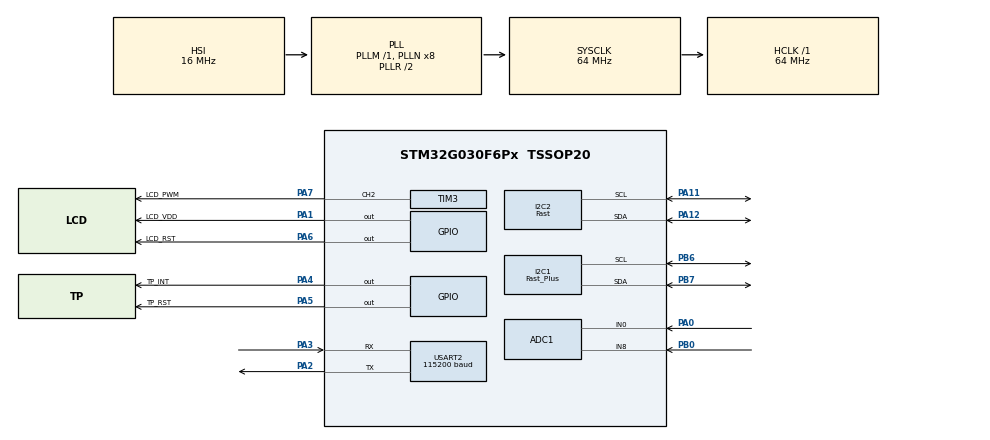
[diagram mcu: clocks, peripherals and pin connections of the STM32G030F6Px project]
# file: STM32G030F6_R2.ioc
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Mcu.Family=STM32G0
PA11\ [PA9].Mode=I2C
RCC.CortexFreq_Value=64000000
I2C1.I2C_Speed_Mode=I2C_Fast_Plus
TIM14.AutoReloadPreload=TIM_AUTORELOAD_PRELOAD_DISABLE
ADC1.ContinuousConvMode=ENABLE
Dma.ADC1.0.Polarity=HAL_DMAMUX_REQ_GEN_RISING
PA12\ [PA10].Mode=I2C
VP_IWDG_VS_IWDG.Mode=IWDG_Activate
I2C2.Timing=0x00602173
PA14-BOOT0.Mode=Serial_Wire
I2C2.NoStretchMode=I2C_NOSTRETCH_DISABLE
PA6.GPIO_Label=LCD_RST
I2C2.DualAddressMode=I2C_DUALADDRESS_DISABLE
RCC.SYSCLKSource=RCC_SYSCLKSOURCE_PLLCLK
ProjectManager.StackSize=0x400
NVIC.I2C1_IRQn=true\:0\:0\:false\:false\:true\:true\:true
PA11\ [PA9].GPIO_Mode=GPIO_MODE_AF_OD
RCC.HCLKFreq_Value=64000000
PA12\ [PA10].Signal=I2C2_SDA
I2C2.I2C_Speed_Mode=I2C_Fast
TIM3.Period=PERIOD_VALUE
PB6.Signal=I2C1_SCL
Dma.ADC1.0.Direction=DMA_PERIPH_TO_MEMORY
PB6.Mode=I2C
I2C2.CustomTiming=Disabled
Dma.ADC1.0.MemDataAlignment=DMA_MDATAALIGN_HALFWORD
RCC.AHBFreq_Value=64000000
PA14-BOOT0.Signal=SYS_SWCLK
ADC1.Channel-0\#ChannelRegularConversion=ADC_CHANNEL_0
RCC.HSE_VALUE=8000000
USART2.VirtualMode-Asynchronous=VM_ASYNC
TIM3.OCFastMode_PWM-PWM\ Generation2\ CH2=TIM_OCFAST_ENABLE
TIM14.Period=1599
PA4.GPIO_Speed=GPIO_SPEED_FREQ_VERY_HIGH
PA6.GPIO_PuPd=GPIO_NOPULL
I2C1.NoStretchMode=I2C_NOSTRETCH_DISABLE
PA12\ [PA10].GPIO_PuPdOD=GPIO_PULLUP
TIM3.Prescaler=PRESCALER_VALUE
PA5.GPIO_PuPd=GPIO_NOPULL
Dma.ADC1.0.PeriphInc=DMA_PINC_DISABLE
PA0.Mode=IN0
PB7.Signal=I2C1_SDA
PA11\ [PA9].GPIO_PuPdOD=GPIO_PULLUP
ADC1.SamplingTime-0\#ChannelRegularConversion=ADC_SAMPLINGTIME_COMMON_1
PA0.Signal=ADC1_IN0
ADC1.SelectedChannel=ADC_CHANNEL_0|ADC_CHANNEL_8
Mcu.Package=TSSOP20
PA6.Signal=GPIO_Output
I2C2.I2C_Fall_Time=0
PA12\ [PA10].PinState=GPIO_PIN_RESET
I2C2.I2C_Rise_Time=0
TIM3.Pulse-PWM\ Generation2\ CH2=PULSE_DEF_VALUE
I2C2.GeneralCallMode=I2C_GENERALCALL_DISABLE
VP_TIM14_VS_ClockSourceINT.Mode=Enable_Timer
PA6.GPIO_Speed=GPIO_SPEED_FREQ_HIGH
Dma.Request0=ADC1
PA4.GPIO_Label=TP_INT
Dma.ADC1.0.EventEnable=DISABLE
PA3.Signal=USART2_RX
PB7.GPIO_Speed=GPIO_SPEED_FREQ_HIGH
NVIC.TIM14_IRQn=true\:0\:0\:false\:false\:true\:true\:true
Dma.ADC1.0.Instance=DMA1_Channel1
ADC1.Rank-0\#ChannelRegularConversion=1
PA11\ [PA9].GPIO_Speed=GPIO_SPEED_FREQ_HIGH
PA12\ [PA10].GPIO_Speed=GPIO_SPEED_FREQ_HIGH
I2C2.I2C_Coeff_DF=0
Dma.ADC1.0.SyncRequestNumber=1
PA12\ [PA10].GPIO_Mode=GPIO_MODE_AF_OD
RCC.EXTERNAL_CLOCK_VALUE=12288000
PA6.PinState=GPIO_PIN_RESET
USART2.BaudRate=115200
I2C2.OwnAddress=0
PA13.Signal=SYS_SWDIO
PA3.Mode=Asynchronous
Dma.ADC1.0.PeriphDataAlignment=DMA_PDATAALIGN_HALFWORD
ProjectManager.TargetToolchain=STM32CubeIDE
Dma.ADC1.0.Mode=DMA_CIRCULAR
Dma.ADC1.0.SignalID=NONE
Dma.ADC1.0.SyncSignalID=NONE
Dma.ADC1.0.Priority=DMA_PRIORITY_MEDIUM
ADC1.Channel-1\#ChannelRegularConversion=ADC_CHANNEL_8
I2C1.Timing=0x00300B29
RCC.LSE_VALUE=32768
PA1.Signal=GPIO_Output
PA5.Signal=GPIO_Output
SH.S_TIM3_CH2.0=TIM3_CH2,PWM Generation2 CH2
PB0.Mode=IN8
board=custom
RCC.VCOOutputFreq_Value=128000000
PA7.GPIO_Speed=GPIO_SPEED_FREQ_HIGH
Dma.ADC1.0.SyncPolarity=HAL_DMAMUX_SYNC_NO_EVENT
PA1.GPIO_Speed=GPIO_SPEED_FREQ_HIGH
RCC.ADCFreq_Value=64000000
PA1.GPIO_Label=LCD_VDD
PA11\ [PA9].PinState=GPIO_PIN_RESET
ADC1.DMAContinuousRequests=ENABLE
ADC1.NbrOfConversion=2
PA13.Mode=Serial_Wire
I2C2.Speed=400
PA11\ [PA9].Signal=I2C2_SCL
Mcu.Name=STM32G030F6Px
TIM14.Prescaler=39999
PA2.Signal=USART2_TX
I2C1.OwnAddress=I2C_SLAVE_ADDR
PA4.Signal=GPIO_Output
ADC1.SamplingTime-1\#ChannelRegularConversion=ADC_SAMPLINGTIME_COMMON_1
RCC.SYSCLKFreq_VALUE=64000000
PA7.GPIO_Label=LCD_PWM
ADC1.master=1
PA5.GPIO_Label=TP_RST
ADC1.Rank-1\#ChannelRegularConversion=2
Dma.ADC1.0.RequestNumber=1
PB7.Mode=I2C
Dma.ADC1.0.SyncEnable=DISABLE
Dma.ADC1.0.MemInc=DMA_MINC_ENABLE
ProjectManager.HeapSize=0x200
RCC.HSI_VALUE=16000000
PA5.GPIO_Speed=GPIO_SPEED_FREQ_HIGH
ADC1.NbrOfConversionFlag=1
TIM3.Channel-PWM\ Generation2\ CH2=TIM_CHANNEL_2
PA2.Mode=Asynchronous
NVIC.DMA1_Channel1_IRQn=true\:3\:0\:true\:false\:true\:false\:true
PB6.GPIO_Speed=GPIO_SPEED_FREQ_HIGH
PB0.Signal=ADC1_IN8
PA7.Signal=S_TIM3_CH2

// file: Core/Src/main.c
/* USER CODE BEGIN Header */
/**
  ******************************************************************************
  * @file           : main.c
  * @brief          : Main program body
  ******************************************************************************
  * @attention
  *
  * <h2><center>&copy; Copyright (c) 2021 STMicroelectronics.
  * All rights reserved.</center></h2>
  *
  * This software component is licensed by ST under BSD 3-Clause license,
  * the "License"; You may not use this file except in compliance with the
  * License. You may obtain a copy of the License at:
  *                        opensource.org/licenses/BSD-3-Clause
  *
  ******************************************************************************
  */
/* USER CODE END Header */
#include "main.h"

/* USER CODE BEGIN PD */
#define PRESCALER_VALUE		(uint32_t)(((SystemCoreClock) / 4000000) - 1)
#define PERIOD_VALUE		(uint32_t)(255 - 1)  /* Period Value  */
#define PULSE_DEF_VALUE		(uint32_t)(0)//(250)

#define I2C_SLAVE_ADDR		(0x45<<1)
/* USER CODE END PD */

ADC_HandleTypeDef hadc1;
DMA_HandleTypeDef hdma_adc1;

I2C_HandleTypeDef hi2c1;
I2C_HandleTypeDef hi2c2;

IWDG_HandleTypeDef hiwdg;

TIM_HandleTypeDef htim3;
TIM_HandleTypeDef htim14;

UART_HandleTypeDef huart2;

/* USER CODE BEGIN PV */
uint16_t AdcVal[ADC_CH_MAX] = { 0 };
uint32_t i2c_int_cnt = 0;

static uint32_t reg_rcc_csr = 0x00;
/* USER CODE END PV */

void SystemClock_Config(void);
static void MX_GPIO_Init(void);
static void MX_DMA_Init(void);
static void MX_USART2_UART_Init(void);
static void MX_I2C1_Init(void);
static void MX_I2C2_Init(void);
static void MX_TIM3_Init(void);
static void MX_ADC1_Init(void);
static void MX_TIM14_Init(void);
static void MX_IWDG_Init(void);
/* USER CODE BEGIN PFP */
static void Update_Firmware_Init(void);
/* USER CODE END PFP */

/* USER CODE BEGIN 0 */
/*
 * !!! ESD Test Problem Solving Instruction !!!
 * When we use the reterminal(stm32 firmware less than or equal to V1.8) to do the ESD test.
 * The touch panel may be not responding to touch action.In order to fix this problem.We add
 *  the Independent watch dog timer.And we add more code to deal with the different ESD issue.
 * For more Details.Please refer to the follow link:
 * https://github.com/Seeed-Studio/seeed-linux-dtoverlays/commit/34e902e37f841972757c51b80aa97059e64a4463
 * */
/* USER CODE END 0 */

int main(void)
{

  /* MCU Configuration--------------------------------------------------------*/

  /* Reset of all peripherals, Initializes the Flash interface and the Systick. */
  HAL_Init();

  /* Configure the system clock */
  SystemClock_Config();

  /* USER CODE BEGIN SysInit */
  /*
   * In order to determine whether the CM4 is
   * still running when the MCU resets.
   * We use the I2C slave interrupt time for this.
   * So the I2C slave init code move to the beginning
   * of the system init.
   * */
  MX_I2C1_Init();
  I2C_Slave_Init(&hi2c1);
  /*
   * Add delay here to receive the possible packets
   * from CM4.
   * CM4's poll interval is defined here:
   * https://github.com/Seeed-Studio/seeed-linux-dtoverlays/blob/master/modules/mipi_dsi/touch_panel.c
   * */
  HAL_Delay(50);
  /* USER CODE END SysInit */

  /* Initialize all configured peripherals */
  MX_GPIO_Init();
  MX_DMA_Init();
  MX_USART2_UART_Init();
  //MX_I2C1_Init();
  MX_I2C2_Init();
  MX_TIM3_Init();
  MX_ADC1_Init();
  MX_TIM14_Init();
  MX_IWDG_Init();
  /* USER CODE BEGIN 2 */
  /*
   * After the MCU is reset by the IWDG timeout reset.
   * This code about RCC->CSR can find out the reset reason
   * and keep the working status of LCD backlight and clear
   * reset flag(RCC_CSR_RMVF) of RCC->CSR.
   */
  if(reg_rcc_csr & RCC_CSR_IWDGRSTF_Msk) {
	  PWM_config(255);
  	  SET_BIT(RCC->CSR, RCC_CSR_RMVF);
  	  DBG_PRINT("IWDG RESET!!!\n");
  }
  /*
   * This code is aimed on fixing the ESD issue
   * The MCU maybe reset when ESD happens while the CM4
   * not reset at the same time.
   * */
  if((reg_rcc_csr & RCC_CSR_PINRSTF_Msk) && i2c_int_cnt >= 1) {
	  PWM_config(255);
  	  SET_BIT(RCC->CSR, RCC_CSR_RMVF);
  	  DBG_PRINT("Only MCU reset without CM4 reset!\n");
  }

  __HAL_TIM_CLEAR_FLAG(&htim14, TIM_SR_UIF);
  DBG_PRINT("ReTerminal stm32!\n");
  //Update_Firmware_Init();
  TP_Init(&hi2c2);
  /* USER CODE END 2 */

  /* Infinite loop */
  /* USER CODE BEGIN WHILE */
  while (1)
  {
  	I2C_Slave_Process();
  	HAL_IWDG_Refresh(&hiwdg);
    /* USER CODE END WHILE */

  }
}

void SystemClock_Config(void)
{
  RCC_OscInitTypeDef RCC_OscInitStruct = {0};
  RCC_ClkInitTypeDef RCC_ClkInitStruct = {0};
  RCC_PeriphCLKInitTypeDef PeriphClkInit = {0};

  /** Configure the main internal regulator output voltage
  */
  HAL_PWREx_ControlVoltageScaling(PWR_REGULATOR_VOLTAGE_SCALE1);
  /** Initializes the RCC Oscillators according to the specified parameters
  * in the RCC_OscInitTypeDef structure.
  */
  RCC_OscInitStruct.OscillatorType = RCC_OSCILLATORTYPE_HSI|RCC_OSCILLATORTYPE_LSI;
  RCC_OscInitStruct.HSIState = RCC_HSI_ON;
  RCC_OscInitStruct.HSIDiv = RCC_HSI_DIV1;
  RCC_OscInitStruct.HSICalibrationValue = RCC_HSICALIBRATION_DEFAULT;
  RCC_OscInitStruct.LSIState = RCC_LSI_ON;
  RCC_OscInitStruct.PLL.PLLState = RCC_PLL_ON;
  RCC_OscInitStruct.PLL.PLLSource = RCC_PLLSOURCE_HSI;
  RCC_OscInitStruct.PLL.PLLM = RCC_PLLM_DIV1;
  RCC_OscInitStruct.PLL.PLLN = 8;
  RCC_OscInitStruct.PLL.PLLP = RCC_PLLP_DIV2;
  RCC_OscInitStruct.PLL.PLLR = RCC_PLLR_DIV2;
  if (HAL_RCC_OscConfig(&RCC_OscInitStruct) != HAL_OK)
  {
    Error_Handler();
  }
  /** Initializes the CPU, AHB and APB buses clocks
  */
  RCC_ClkInitStruct.ClockType = RCC_CLOCKTYPE_HCLK|RCC_CLOCKTYPE_SYSCLK
                              |RCC_CLOCKTYPE_PCLK1;
  RCC_ClkInitStruct.SYSCLKSource = RCC_SYSCLKSOURCE_PLLCLK;
  RCC_ClkInitStruct.AHBCLKDivider = RCC_SYSCLK_DIV1;
  RCC_ClkInitStruct.APB1CLKDivider = RCC_HCLK_DIV1;

  if (HAL_RCC_ClockConfig(&RCC_ClkInitStruct, FLASH_LATENCY_2) != HAL_OK)
  {
    Error_Handler();
  }
  /** Initializes the peripherals clocks
  */
  PeriphClkInit.PeriphClockSelection = RCC_PERIPHCLK_I2C1|RCC_PERIPHCLK_ADC;
  PeriphClkInit.I2c1ClockSelection = RCC_I2C1CLKSOURCE_PCLK1;
  PeriphClkInit.AdcClockSelection = RCC_ADCCLKSOURCE_SYSCLK;
  if (HAL_RCCEx_PeriphCLKConfig(&PeriphClkInit) != HAL_OK)
  {
    Error_Handler();
  }
}

static void MX_ADC1_Init(void)
{

  ADC_ChannelConfTypeDef sConfig = {0};

  /** Configure the global features of the ADC (Clock, Resolution, Data Alignment and number of conversion)
  */
  hadc1.Instance = ADC1;
  hadc1.Init.ClockPrescaler = ADC_CLOCK_SYNC_PCLK_DIV4;
  hadc1.Init.Resolution = ADC_RESOLUTION_12B;
  hadc1.Init.DataAlign = ADC_DATAALIGN_RIGHT;
  hadc1.Init.ScanConvMode = ADC_SCAN_ENABLE;
  hadc1.Init.EOCSelection = ADC_EOC_SINGLE_CONV;
  hadc1.Init.LowPowerAutoWait = DISABLE;
  hadc1.Init.LowPowerAutoPowerOff = DISABLE;
  hadc1.Init.ContinuousConvMode = ENABLE;
  hadc1.Init.NbrOfConversion = 2;
  hadc1.Init.DiscontinuousConvMode = DISABLE;
  hadc1.Init.ExternalTrigConv = ADC_SOFTWARE_START;
  hadc1.Init.ExternalTrigConvEdge = ADC_EXTERNALTRIGCONVEDGE_NONE;
  hadc1.Init.DMAContinuousRequests = ENABLE;
  hadc1.Init.Overrun = ADC_OVR_DATA_PRESERVED;
  hadc1.Init.SamplingTimeCommon1 = ADC_SAMPLETIME_1CYCLE_5;
  hadc1.Init.SamplingTimeCommon2 = ADC_SAMPLETIME_1CYCLE_5;
  hadc1.Init.OversamplingMode = DISABLE;
  hadc1.Init.TriggerFrequencyMode = ADC_TRIGGER_FREQ_HIGH;
  if (HAL_ADC_Init(&hadc1) != HAL_OK)
  {
    Error_Handler();
  }
  /** Configure Regular Channel
  */
  sConfig.Channel = ADC_CHANNEL_0;
  sConfig.Rank = ADC_REGULAR_RANK_1;
  sConfig.SamplingTime = ADC_SAMPLINGTIME_COMMON_1;
  if (HAL_ADC_ConfigChannel(&hadc1, &sConfig) != HAL_OK)
  {
    Error_Handler();
  }
  /** Configure Regular Channel
  */
  sConfig.Channel = ADC_CHANNEL_8;
  sConfig.Rank = ADC_REGULAR_RANK_2;
  if (HAL_ADC_ConfigChannel(&hadc1, &sConfig) != HAL_OK)
  {
    Error_Handler();
  }
  /* USER CODE BEGIN ADC1_Init 2 */
  HAL_NVIC_DisableIRQ(DMA1_Channel1_IRQn);
  HAL_ADC_Start_DMA(&hadc1, (uint32_t*)AdcVal, ADC_CH_MAX);
  /* USER CODE END ADC1_Init 2 */

}

static void MX_I2C1_Init(void)
{

  hi2c1.Instance = I2C1;
  hi2c1.Init.Timing = 0x00300B29;
  hi2c1.Init.OwnAddress1 = I2C_SLAVE_ADDR;
  hi2c1.Init.AddressingMode = I2C_ADDRESSINGMODE_7BIT;
  hi2c1.Init.DualAddressMode = I2C_DUALADDRESS_DISABLE;
  hi2c1.Init.OwnAddress2 = 0;
  hi2c1.Init.OwnAddress2Masks = I2C_OA2_NOMASK;
  hi2c1.Init.GeneralCallMode = I2C_GENERALCALL_DISABLE;
  hi2c1.Init.NoStretchMode = I2C_NOSTRETCH_DISABLE;
  if (HAL_I2C_Init(&hi2c1) != HAL_OK)
  {
    Error_Handler();
  }
  /** Configure Analogue filter
  */
  if (HAL_I2CEx_ConfigAnalogFilter(&hi2c1, I2C_ANALOGFILTER_ENABLE) != HAL_OK)
  {
    Error_Handler();
  }
  /** Configure Digital filter
  */
  if (HAL_I2CEx_ConfigDigitalFilter(&hi2c1, 0) != HAL_OK)
  {
    Error_Handler();
  }
  /** I2C Fast mode Plus enable
  */
  HAL_I2CEx_EnableFastModePlus(I2C_FASTMODEPLUS_I2C1);

}

static void MX_I2C2_Init(void)
{

  hi2c2.Instance = I2C2;
  hi2c2.Init.Timing = 0x00602173;
  hi2c2.Init.OwnAddress1 = 0;
  hi2c2.Init.AddressingMode = I2C_ADDRESSINGMODE_7BIT;
  hi2c2.Init.DualAddressMode = I2C_DUALADDRESS_DISABLE;
  hi2c2.Init.OwnAddress2 = 0;
  hi2c2.Init.OwnAddress2Masks = I2C_OA2_NOMASK;
  hi2c2.Init.GeneralCallMode = I2C_GENERALCALL_DISABLE;
  hi2c2.Init.NoStretchMode = I2C_NOSTRETCH_DISABLE;
  if (HAL_I2C_Init(&hi2c2) != HAL_OK)
  {
    Error_Handler();
  }
  /** Configure Analogue filter
  */
  if (HAL_I2CEx_ConfigAnalogFilter(&hi2c2, I2C_ANALOGFILTER_ENABLE) != HAL_OK)
  {
    Error_Handler();
  }
  /** Configure Digital filter
  */
  if (HAL_I2CEx_ConfigDigitalFilter(&hi2c2, 0) != HAL_OK)
  {
    Error_Handler();
  }

}

static void MX_IWDG_Init(void)
{

  hiwdg.Instance = IWDG;
  hiwdg.Init.Prescaler = IWDG_PRESCALER_4;
  hiwdg.Init.Window = 4095;
  hiwdg.Init.Reload = 4095;
  if (HAL_IWDG_Init(&hiwdg) != HAL_OK)
  {
    Error_Handler();
  }

}

static void MX_TIM3_Init(void)
{

  TIM_MasterConfigTypeDef sMasterConfig = {0};
  TIM_OC_InitTypeDef sConfigOC = {0};

  htim3.Instance = TIM3;
  htim3.Init.Prescaler = PRESCALER_VALUE;
  htim3.Init.CounterMode = TIM_COUNTERMODE_UP;
  htim3.Init.Period = PERIOD_VALUE;
  htim3.Init.ClockDivision = TIM_CLOCKDIVISION_DIV1;
  htim3.Init.AutoReloadPreload = TIM_AUTORELOAD_PRELOAD_DISABLE;
  if (HAL_TIM_PWM_Init(&htim3) != HAL_OK)
  {
    Error_Handler();
  }
  sMasterConfig.MasterOutputTrigger = TIM_TRGO_RESET;
  sMasterConfig.MasterSlaveMode = TIM_MASTERSLAVEMODE_DISABLE;
  if (HAL_TIMEx_MasterConfigSynchronization(&htim3, &sMasterConfig) != HAL_OK)
  {
    Error_Handler();
  }
  sConfigOC.OCMode = TIM_OCMODE_PWM1;
  sConfigOC.Pulse = PULSE_DEF_VALUE;
  sConfigOC.OCPolarity = TIM_OCPOLARITY_HIGH;
  sConfigOC.OCFastMode = TIM_OCFAST_ENABLE;
  if (HAL_TIM_PWM_ConfigChannel(&htim3, &sConfigOC, TIM_CHANNEL_2) != HAL_OK)
  {
    Error_Handler();
  }
  HAL_TIM_MspPostInit(&htim3);

}

static void MX_TIM14_Init(void)
{

  htim14.Instance = TIM14;
  htim14.Init.Prescaler = 39999;
  htim14.Init.CounterMode = TIM_COUNTERMODE_UP;
  htim14.Init.Period = 1599;
  htim14.Init.ClockDivision = TIM_CLOCKDIVISION_DIV1;
  htim14.Init.AutoReloadPreload = TIM_AUTORELOAD_PRELOAD_DISABLE;
  if (HAL_TIM_Base_Init(&htim14) != HAL_OK)
  {
    Error_Handler();
  }

}

static void MX_USART2_UART_Init(void)
{

  huart2.Instance = USART2;
  huart2.Init.BaudRate = 115200;
  huart2.Init.WordLength = UART_WORDLENGTH_8B;
  huart2.Init.StopBits = UART_STOPBITS_1;
  huart2.Init.Parity = UART_PARITY_NONE;
  huart2.Init.Mode = UART_MODE_TX_RX;
  huart2.Init.HwFlowCtl = UART_HWCONTROL_NONE;
  huart2.Init.OverSampling = UART_OVERSAMPLING_16;
  huart2.Init.OneBitSampling = UART_ONE_BIT_SAMPLE_DISABLE;
  huart2.Init.ClockPrescaler = UART_PRESCALER_DIV1;
  huart2.AdvancedInit.AdvFeatureInit = UART_ADVFEATURE_NO_INIT;
  if (HAL_UART_Init(&huart2) != HAL_OK)
  {
    Error_Handler();
  }

}

static void MX_DMA_Init(void)
{

  /* DMA controller clock enable */
  __HAL_RCC_DMA1_CLK_ENABLE();

  /* DMA interrupt init */
  /* DMA1_Channel1_IRQn interrupt configuration */
  HAL_NVIC_SetPriority(DMA1_Channel1_IRQn, 3, 0);
  HAL_NVIC_EnableIRQ(DMA1_Channel1_IRQn);

}

static void MX_GPIO_Init(void)
{
  GPIO_InitTypeDef GPIO_InitStruct = {0};

  /* GPIO Ports Clock Enable */
  __HAL_RCC_GPIOB_CLK_ENABLE();
  __HAL_RCC_GPIOA_CLK_ENABLE();

  /*Configure GPIO pin Output Level */
  HAL_GPIO_WritePin(GPIOA, LCD_VDD_Pin|TP_INT_Pin|TP_RST_Pin|LCD_RST_Pin, GPIO_PIN_RESET);

  /*
   * After the MCU is reset by the IWDG timeout reset.
   * This code about RCC->CSR can find out the reset reason
   * and keep the working status of LCD and Touch panel.
   */
  reg_rcc_csr = RCC->CSR;
  if((reg_rcc_csr & RCC_CSR_IWDGRSTF_Msk) || ((reg_rcc_csr & RCC_CSR_PINRSTF_Msk) \
		  && (i2c_int_cnt >= 1)))
  	  HAL_GPIO_WritePin(GPIOA, LCD_VDD_Pin|TP_INT_Pin|TP_RST_Pin|LCD_RST_Pin, GPIO_PIN_SET);

  /*Configure GPIO pins : LCD_VDD_Pin TP_RST_Pin LCD_RST_Pin */
  GPIO_InitStruct.Pin = LCD_VDD_Pin|TP_RST_Pin|LCD_RST_Pin;
  GPIO_InitStruct.Mode = GPIO_MODE_OUTPUT_PP;
  GPIO_InitStruct.Pull = GPIO_NOPULL;
  GPIO_InitStruct.Speed = GPIO_SPEED_FREQ_HIGH;
  HAL_GPIO_Init(GPIOA, &GPIO_InitStruct);

  /*Configure GPIO pin : TP_INT_Pin */
  GPIO_InitStruct.Pin = TP_INT_Pin;
  GPIO_InitStruct.Mode = GPIO_MODE_OUTPUT_PP;
  GPIO_InitStruct.Pull = GPIO_NOPULL;
  GPIO_InitStruct.Speed = GPIO_SPEED_FREQ_VERY_HIGH;
  HAL_GPIO_Init(TP_INT_GPIO_Port, &GPIO_InitStruct);

}

/* USER CODE BEGIN 4 */
void HAL_TIM_PeriodElapsedCallback(TIM_HandleTypeDef *htim)
{
	if(htim == (&htim14)) {
		if(i2c_int_cnt > 30){
			//DBG_PRINT("if %d %d\n", TIM14->ARR, i2c_int_cnt);
			TIM14->ARR = 800;
		} else {
			//DBG_PRINT("else %d %d\n", TIM14->ARR, i2c_int_cnt);
			TIM14->ARR = 9999;
			NVIC_SystemReset();
		}
		i2c_int_cnt = 0;
	}
}

/**
  * @brief  This function init the flash register to make the mcu work in system flash
  * after the firmware update
  * @retval None
  */
static void Update_Firmware_Init(void)
{

  HAL_FLASH_Unlock();
  HAL_FLASH_OB_Unlock();

  SET_BIT(FLASH->OPTR, FLASH_OPTR_nBOOT0);
  CLEAR_BIT(FLASH->ACR, FLASH_ACR_PROGEMPTY);

  SET_BIT(FLASH->CR, FLASH_CR_OPTSTRT);
  FLASH_WaitForLastOperation((uint32_t)FLASH_TIMEOUT_VALUE);
  CLEAR_BIT(FLASH->CR, FLASH_CR_OPTSTRT);

  HAL_FLASH_OB_Lock();
  HAL_FLASH_Lock();
}
/* USER CODE END 4 */

void Error_Handler(void)
{
  __disable_irq();
  while (1)
  {
  }
}

/************************ (C) COPYRIGHT STMicroelectronics *****END OF FILE****/
